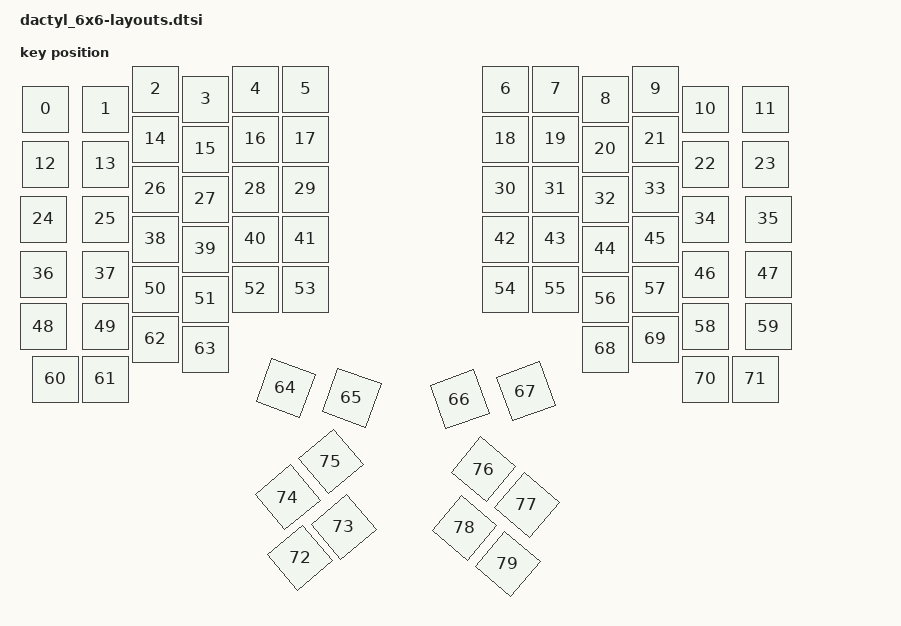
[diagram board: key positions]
// Copyright (c) 2020 Ryan Cross, Bruce Jones 
// SPDX-License-Identifier: MIT
#include <physical_layouts.dtsi>
#include <dt-bindings/zmk/matrix_transform.h>


/ {
    physical_layout0: physical_layout_0 {
        compatible = "zmk,physical-layout";
        display-name = "Base";

        kscan = <&kscan0>;
        transform = <&default_transform>;

        keys  //                     w   h    x    y     rot    rx    ry
            = <&key_physical_attrs 100 100    5   40       0     0     0>
            , <&key_physical_attrs 100 100  125   40       0     0     0>
            , <&key_physical_attrs 100 100  225    0       0     0     0>
            , <&key_physical_attrs 100 100  325   20       0     0     0>
            , <&key_physical_attrs 100 100  425    0       0     0     0>
            , <&key_physical_attrs 100 100  525    0       0     0     0>
            , <&key_physical_attrs 100 100  925    0       0     0     0>
            , <&key_physical_attrs 100 100 1025    0       0     0     0>
            , <&key_physical_attrs 100 100 1125   20       0     0     0>
            , <&key_physical_attrs 100 100 1225    0       0     0     0>
            , <&key_physical_attrs 100 100 1325   40       0     0     0>
            , <&key_physical_attrs 100 100 1445   40       0     0     0>
            , <&key_physical_attrs 100 100    5  150       0     0     0>
            , <&key_physical_attrs 100 100  125  150       0     0     0>
            , <&key_physical_attrs 100 100  225  100       0     0     0>
            , <&key_physical_attrs 100 100  325  120       0     0     0>
            , <&key_physical_attrs 100 100  425  100       0     0     0>
            , <&key_physical_attrs 100 100  525  100       0     0     0>
            , <&key_physical_attrs 100 100  925  100       0     0     0>
            , <&key_physical_attrs 100 100 1025  100       0     0     0>
            , <&key_physical_attrs 100 100 1125  120       0     0     0>
            , <&key_physical_attrs 100 100 1225  100       0     0     0>
            , <&key_physical_attrs 100 100 1325  150       0     0     0>
            , <&key_physical_attrs 100 100 1445  150       0     0     0>
            , <&key_physical_attrs 100 100    0  260       0     0     0>
            , <&key_physical_attrs 100 100  125  260       0     0     0>
            , <&key_physical_attrs 100 100  225  200       0     0     0>
            , <&key_physical_attrs 100 100  325  220       0     0     0>
            , <&key_physical_attrs 100 100  425  200       0     0     0>
            , <&key_physical_attrs 100 100  525  200       0     0     0>
            , <&key_physical_attrs 100 100  925  200       0     0     0>
            , <&key_physical_attrs 100 100 1025  200       0     0     0>
            , <&key_physical_attrs 100 100 1125  220       0     0     0>
            , <&key_physical_attrs 100 100 1225  200       0     0     0>
            , <&key_physical_attrs 100 100 1325  260       0     0     0>
            , <&key_physical_attrs 100 100 1450  260       0     0     0>
            , <&key_physical_attrs 100 100    0  370       0     0     0>
            , <&key_physical_attrs 100 100  125  370       0     0     0>
            , <&key_physical_attrs 100 100  225  300       0     0     0>
            , <&key_physical_attrs 100 100  325  320       0     0     0>
            , <&key_physical_attrs 100 100  425  300       0     0     0>
            , <&key_physical_attrs 100 100  525  300       0     0     0>
            , <&key_physical_attrs 100 100  925  300       0     0     0>
            , <&key_physical_attrs 100 100 1025  300       0     0     0>
            , <&key_physical_attrs 100 100 1125  320       0     0     0>
            , <&key_physical_attrs 100 100 1225  300       0     0     0>
            , <&key_physical_attrs 100 100 1325  370       0     0     0>
            , <&key_physical_attrs 100 100 1450  370       0     0     0>
            , <&key_physical_attrs 100 100    0  475       0     0     0>
            , <&key_physical_attrs 100 100  125  475       0     0     0>
            , <&key_physical_attrs 100 100  225  400       0     0     0>
            , <&key_physical_attrs 100 100  325  420       0     0     0>
            , <&key_physical_attrs 100 100  425  400       0     0     0>
            , <&key_physical_attrs 100 100  525  400       0     0     0>
            , <&key_physical_attrs 100 100  925  400       0     0     0>
            , <&key_physical_attrs 100 100 1025  400       0     0     0>
            , <&key_physical_attrs 100 100 1125  420       0     0     0>
            , <&key_physical_attrs 100 100 1225  400       0     0     0>
            , <&key_physical_attrs 100 100 1325  475       0     0     0>
            , <&key_physical_attrs 100 100 1450  475       0     0     0>
            , <&key_physical_attrs 100 100   25  580       0     0     0>
            , <&key_physical_attrs 100 100  125  580       0     0     0>
            , <&key_physical_attrs 100 100  225  500       0     0     0>
            , <&key_physical_attrs 100 100  325  520       0     0     0>
            , <&key_physical_attrs 100 100  425  640    2000   625   840>
            , <&key_physical_attrs 100 100  525  640    2000   685   940>
            , <&key_physical_attrs 100 100  925  640 (-2000)   875   940>
            , <&key_physical_attrs 100 100 1025  640 (-2000)   945   840>
            , <&key_physical_attrs 100 100 1125  520       0     0     0>
            , <&key_physical_attrs 100 100 1225  500       0     0     0>
            , <&key_physical_attrs 100 100 1325  580       0     0     0>
            , <&key_physical_attrs 100 100 1425  580       0     0     0>
            , <&key_physical_attrs 100 100  625  840    5000   515   820>
            , <&key_physical_attrs 100 100  525  840    5000   575   990>
            , <&key_physical_attrs 100 100  525  740    5000   475   790>
            , <&key_physical_attrs 100 100  625  740    5000   645   740>
            , <&key_physical_attrs 100 100  825  740 (-5000)   925   740>
            , <&key_physical_attrs 100 100  925  740 (-5000)  1095   790>
            , <&key_physical_attrs 100 100  825  840 (-5000)   925   890>
            , <&key_physical_attrs 100 100  925  840 (-5000)  1095   940>
            ;
    };
};
